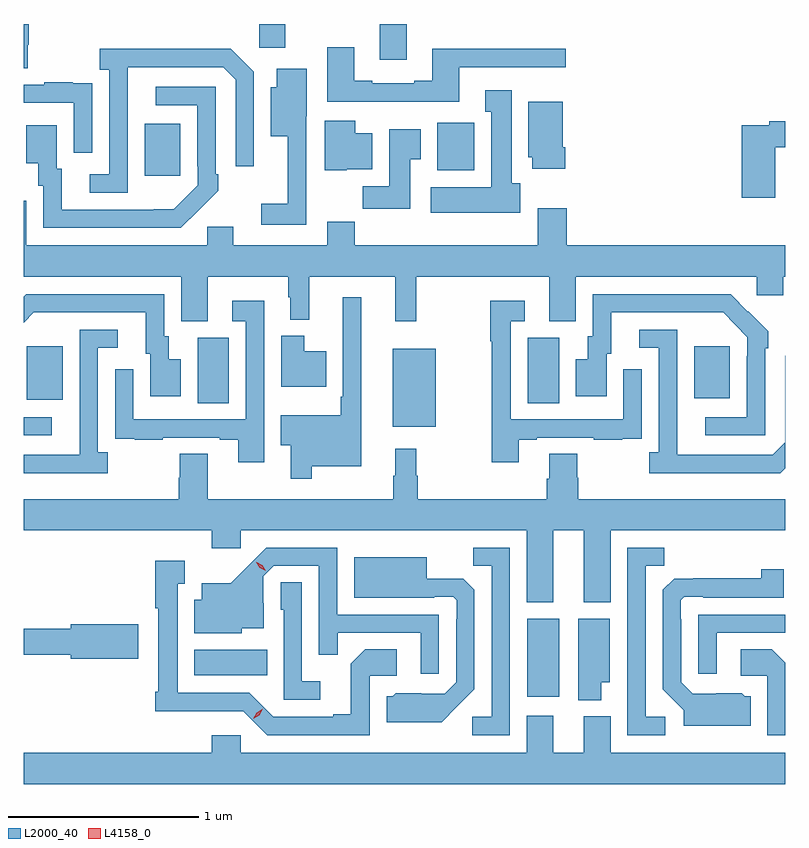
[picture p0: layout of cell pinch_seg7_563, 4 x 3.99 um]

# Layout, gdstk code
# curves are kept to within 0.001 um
import gdstk
lib = gdstk.Library(unit=1e-6, precision=1e-09)
def R(c, l, rs):  # rectangles x0, y0, x1, y1
    for r in rs: c.add(gdstk.rectangle(r[:2], r[2:], *l))
def P(c, l, *ps):  # polygons
    for p in ps: c.add(gdstk.Polygon(p, *l))
L2000_40 = (2000, 40)
L4158_0 = (4158, 0)

pinch_seg7_563 = lib.new_cell('pinch_seg7_563')
R(pinch_seg7_563, L2000_40, [(169.979,1057.017,170.146,1057.429), (168.23,1057.13,168.614,1057.264), (167.334,1058.391,167.482,1058.487), (169.271,1058.435,169.498,1058.845), (168.248,1058.56,168.412,1058.904), (169.982,1058.56,170.146,1058.904), (167.351,1058.579,167.539,1058.86), (170.855,1058.585,171.043,1058.86), (167.969,1059.753,168.157,1060.027), (169.505,1059.782,169.701,1060.033), (169.205,1060.362,169.345,1060.551), (168.57,1060.425,168.709,1060.551)])
P(pinch_seg7_563, L2000_40, [(167.355,1060.443),(167.36,1060.443),(167.36,1060.551),(167.334,1060.551),(167.334,1060.318),(167.355,1060.318)],
  [(169.621,1060.323),(170.182,1060.323),(170.182,1060.42),(169.481,1060.42),(169.481,1060.252),(169.385,1060.252),(169.385,1060.239),(169.165,1060.239),(169.165,1060.252),(169.069,1060.252),(169.069,1060.429),(168.929,1060.429),(168.929,1060.142),(169.621,1060.142)],
  [(167.88,1060.123),(167.881,1060.323),(168.381,1060.323),(168.447,1060.257),(168.447,1059.804),(168.543,1059.804),(168.543,1060.299),(168.422,1060.42),(167.733,1060.42),(167.733,1060.31),(167.784,1060.31),(167.784,1059.762),(167.682,1059.762),(167.682,1059.666),(167.88,1059.666)],
  [(168.819,1060.066),(168.82,1060.066),(168.82,1060.315),(168.662,1060.315),(168.662,1060.219),(168.632,1060.219),(168.632,1059.962),(168.722,1059.962),(168.722,1059.607),(168.582,1059.607),(168.582,1059.498),(168.819,1059.498)],
  [(167.694,1060.13),(167.693,1060.13),(167.693,1060.239),(167.591,1060.239),(167.591,1060.246),(167.443,1060.246),(167.443,1060.233),(167.334,1060.233),(167.334,1060.137),(167.598,1060.137),(167.598,1059.876),(167.694,1059.876)],
  [(168.251,1059.571),(168.252,1059.57),(168.357,1059.675),(168.357,1059.763),(168.342,1059.763),(168.342,1060.221),(168.027,1060.221),(168.027,1060.125),(168.246,1060.125),(168.246,1059.805),(168.249,1059.805),(168.249,1059.705),(168.121,1059.577),(167.533,1059.576),(167.533,1059.792),(167.509,1059.792),(167.509,1060.018),(167.348,1060.018),(167.348,1059.821),(167.411,1059.821),(167.411,1059.702),(167.436,1059.702),(167.436,1059.48),(168.16,1059.48)],
  [(169.942,1059.714),(169.897,1059.714),(169.897,1060.204),(169.757,1060.204),(169.757,1060.091),(169.79,1060.091),(169.79,1059.694),(169.473,1059.694),(169.473,1059.56),(169.942,1059.56)],
  [(170.177,1059.904),(170.164,1059.904),(170.164,1060.144),(169.985,1060.144),(169.985,1059.852),(170.006,1059.852),(170.006,1059.792),(170.177,1059.792)],
  [(169.032,1059.788),(169.165,1059.788),(169.165,1059.976),(169.075,1059.976),(169.075,1060.042),(168.914,1060.042),(168.914,1059.782),(169.032,1059.782)],
  [(171.282,1059.904),(171.334,1059.904),(171.334,1060.04),(171.25,1060.04),(171.25,1060.02),(171.104,1060.02),(171.104,1059.639),(171.282,1059.639)],
  [(169.363,1059.841),(169.42,1059.841),(169.42,1059.997),(169.253,1059.997),(169.253,1059.7),(169.114,1059.7),(169.114,1059.582),(169.363,1059.582)],
  [(170.093,1058.989),(170.233,1058.989),(170.233,1059.224),(171.183,1059.224),(171.183,1059.126),(171.322,1059.126),(171.322,1059.224),(171.334,1059.224),(171.334,1059.388),(170.186,1059.388),(170.186,1059.583),(170.033,1059.583),(170.033,1059.388),(169.073,1059.388),(169.073,1059.512),(168.929,1059.512),(168.929,1059.388),(168.436,1059.388),(168.436,1059.486),(168.297,1059.486),(168.297,1059.388),(167.347,1059.388),(167.347,1059.624),(167.334,1059.624),(167.334,1059.224),(168.161,1059.224),(168.161,1058.989),(168.301,1058.989),(168.301,1059.224),(168.723,1059.224),(168.723,1059.117),(168.734,1059.117),(168.734,1058.999),(168.833,1058.999),(168.833,1059.224),(169.286,1059.224),(169.286,1058.991),(169.396,1058.991),(169.396,1059.224),(170.093,1059.224)],
  [(168.16,1058.791),(168.097,1058.791),(168.097,1058.91),(168.072,1058.91),(168.072,1059.132),(167.348,1059.132),(167.334,1059.118),(167.334,1058.982),(167.388,1059.036),(167.975,1059.036),(167.975,1058.82),(167.999,1058.82),(167.999,1058.595),(168.16,1058.595)],
  [(171.228,1058.849),(171.243,1058.849),(171.243,1058.937),(171.046,1059.132),(170.322,1059.132),(170.322,1058.91),(170.297,1058.91),(170.297,1058.791),(170.234,1058.791),(170.234,1058.595),(170.395,1058.595),(170.395,1058.82),(170.419,1058.82),(170.419,1059.036),(171.007,1059.036),(171.135,1058.907),(171.135,1058.807),(171.132,1058.807),(171.132,1058.487),(170.913,1058.487),(170.913,1058.391),(171.228,1058.391)],
  [(168.847,1058.228),(169.108,1058.228),(169.108,1059.115),(169.011,1059.115),(169.011,1058.593),(168.999,1058.593),(168.999,1058.497),(168.684,1058.497),(168.684,1058.339),(168.737,1058.339),(168.737,1058.163),(168.847,1058.163)],
  [(168.597,1059.097),(168.429,1059.097),(168.429,1058.991),(168.501,1058.991),(168.501,1058.475),(167.91,1058.475),(167.91,1058.737),(167.814,1058.737),(167.814,1058.482),(167.815,1058.482),(167.815,1058.373),(167.917,1058.373),(167.917,1058.367),(168.065,1058.367),(168.065,1058.379),(168.365,1058.379),(168.365,1058.367),(168.461,1058.367),(168.461,1058.25),(168.597,1058.25)],
  [(169.933,1058.367),(170.029,1058.367),(170.029,1058.379),(170.329,1058.379),(170.329,1058.367),(170.477,1058.367),(170.477,1058.373),(170.579,1058.373),(170.579,1058.482),(170.58,1058.482),(170.58,1058.737),(170.484,1058.737),(170.484,1058.475),(169.893,1058.475),(169.893,1058.991),(169.966,1058.991),(169.966,1059.097),(169.785,1059.097),(169.785,1058.884),(169.792,1058.884),(169.792,1058.25),(169.933,1058.25)],
  [(171.334,1058.218),(171.334,1058.809),(171.333,1058.355),(171.267,1058.289),(170.767,1058.289),(170.766,1058.946),(170.568,1058.946),(170.568,1058.85),(170.67,1058.85),(170.67,1058.302),(170.619,1058.302),(170.619,1058.192),(171.308,1058.192)],
  [(167.776,1058.302),(167.724,1058.302),(167.724,1058.85),(167.827,1058.85),(167.827,1058.946),(167.628,1058.946),(167.628,1058.289),(167.334,1058.289),(167.334,1058.192),(167.776,1058.192)],
  [(168.922,1058.833),(168.808,1058.833),(168.808,1058.914),(168.686,1058.914),(168.686,1058.645),(168.922,1058.645)],
  [(170.116,1057.892),(170.276,1057.892),(170.276,1057.514),(170.416,1057.514),(170.416,1057.892),(171.334,1057.892),(171.334,1058.056),(170.246,1058.056),(170.246,1058.169),(170.241,1058.169),(170.241,1058.294),(170.093,1058.294),(170.093,1058.162),(170.081,1058.162),(170.081,1058.056),(169.403,1058.056),(169.403,1058.18),(169.396,1058.18),(169.396,1058.32),(169.286,1058.32),(169.286,1058.18),(169.275,1058.18),(169.275,1058.056),(168.301,1058.056),(168.301,1058.294),(168.154,1058.294),(168.154,1058.169),(168.149,1058.169),(168.149,1058.056),(167.334,1058.056),(167.334,1057.892),(168.323,1057.892),(168.323,1057.797),(168.474,1057.797),(168.474,1057.892),(169.976,1057.892),(169.976,1057.514),(170.116,1057.514)],
  [(170.704,1056.912),(170.601,1056.912),(170.601,1057.705),(170.697,1057.705),(170.697,1057.8),(170.505,1057.8),(170.505,1056.816),(170.704,1056.816)],
  [(169.515,1057.449),(168.981,1057.449),(168.981,1057.8),(168.608,1057.8),(168.421,1057.615),(168.269,1057.615),(168.269,1057.528),(168.23,1057.528),(168.23,1057.352),(168.48,1057.352),(168.48,1057.379),(168.595,1057.379),(168.595,1057.508),(168.591,1057.508),(168.591,1057.65),(168.648,1057.707),(168.885,1057.707),(168.885,1057.24),(168.983,1057.24),(168.983,1057.353),(169.419,1057.353),(169.419,1057.14),(169.515,1057.14)],
  [(169.887,1057.8),(169.696,1057.8),(169.696,1057.705),(169.791,1057.705),(169.791,1056.912),(169.689,1056.912),(169.689,1056.816),(169.887,1056.816)],
  [(169.609,1056.965),(169.701,1057.058),(169.701,1057.58),(169.642,1057.639),(169.45,1057.639),(169.45,1057.75),(169.07,1057.75),(169.07,1057.538),(169.49,1057.538),(169.49,1057.542),(169.59,1057.542),(169.608,1057.524),(169.608,1057.424),(169.605,1057.424),(169.605,1057.095),(169.545,1057.035),(169.288,1057.036),(169.272,1057.02),(169.241,1057.02),(169.241,1056.884),(169.529,1056.884)],
  [(169.152,1057.128),(169.294,1057.128),(169.294,1057.268),(169.129,1057.268),(169.053,1057.192),(169.053,1056.925),(168.959,1056.925),(168.959,1056.912),(168.645,1056.912),(168.519,1057.038),(168.142,1057.038),(168.142,1057.611),(168.181,1057.611),(168.181,1057.732),(168.024,1057.732),(168.024,1057.483),(168.041,1057.483),(168.041,1057.045),(168.024,1057.045),(168.024,1056.941),(168.486,1056.942),(168.612,1056.816),(169.152,1056.816)],
  [(171.151,1057.02),(171.12,1057.02),(171.104,1057.036),(170.847,1057.035),(170.787,1057.095),(170.787,1057.424),(170.784,1057.424),(170.784,1057.524),(170.802,1057.542),(170.902,1057.542),(170.902,1057.539),(171.326,1057.539),(171.326,1057.687),(171.208,1057.687),(171.208,1057.64),(170.75,1057.639),(170.691,1057.58),(170.691,1057.058),(170.801,1056.948),(170.801,1056.866),(171.151,1056.866)],
  [(168.892,1057.099),(168.795,1057.099),(168.795,1057.619),(168.684,1057.619),(168.684,1057.476),(168.699,1057.476),(168.699,1057.002),(168.892,1057.002)],
  [(170.973,1057.353),(171.334,1057.353),(171.334,1057.449),(170.877,1057.449),(170.877,1057.14),(170.973,1057.14)],
  [(170.368,1057.094),(170.413,1057.094),(170.413,1057.429),(170.246,1057.429),(170.246,1057.001),(170.368,1057.001)],
  [(167.935,1057.4),(167.582,1057.4),(167.582,1057.376),(167.334,1057.376),(167.334,1057.24),(167.582,1057.24),(167.582,1057.217),(167.935,1057.217)],
  [(171.334,1057.197),(171.263,1057.268),(171.099,1057.268),(171.099,1057.128),(171.24,1057.128),(171.24,1056.816),(171.334,1056.816)],
  [(169.976,1056.919),(169.976,1056.724),(168.474,1056.724),(168.474,1056.817),(168.323,1056.817),(168.323,1056.724),(167.334,1056.724),(167.334,1056.56),(171.334,1056.56),(171.334,1056.724),(170.416,1056.724),(170.416,1056.916),(170.276,1056.916),(170.276,1056.724),(170.116,1056.724),(170.116,1056.919)])
P(pinch_seg7_563, L4158_0, [(168.605,1057.68),(168.574,1057.695),(168.556,1057.725),(168.556,1057.725),(168.557,1057.725),(168.588,1057.71),(168.606,1057.681),(168.606,1057.68)],
  [(168.54,1056.902),(168.54,1056.903),(168.558,1056.935),(168.589,1056.954),(168.59,1056.954),(168.59,1056.954),(168.572,1056.921),(168.541,1056.902)])

lib.write_gds('pinch_seg7_563.gds')
